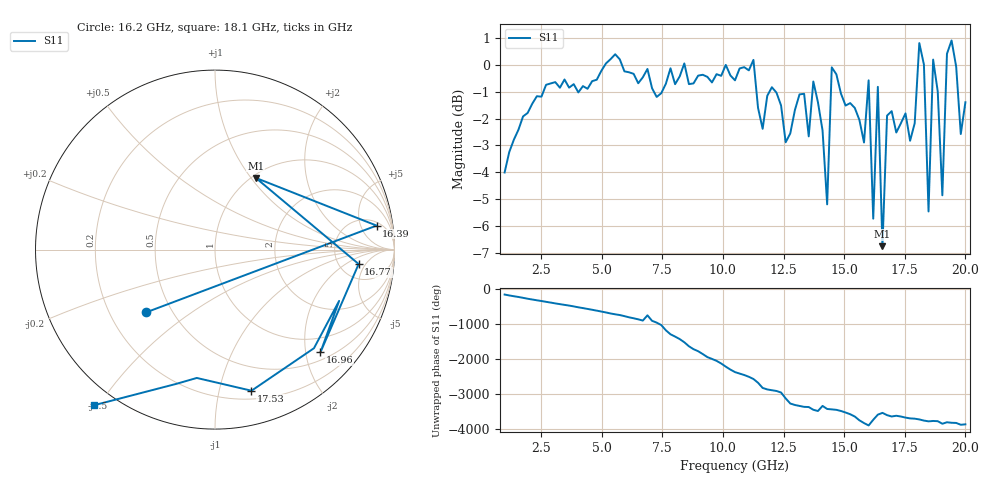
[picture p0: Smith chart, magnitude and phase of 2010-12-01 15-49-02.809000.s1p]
# GHz S RI R 50
!freq	ReS11	ImS11
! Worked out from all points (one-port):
!   101 points, 1 GHz to 20 GHz, reference 50 ohm
!   lowest |S11| = -6.8 dB at 16.58 GHz (marker M1), VSWR 2.70, Z = 52.1 + j52.8 ohm
!   |S11| at or under -10 dB: nowhere
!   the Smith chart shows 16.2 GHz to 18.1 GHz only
!   S11 on the Smith chart (normalised r, x): 16.2 GHz: 0.36, -0.34; 16.39 GHz: 6, +10; 16.77 GHz: 7.62, -3.47; 16.96 GHz: 0.66, -2.30; 17.53 GHz: 0.27, -1.25; 18.1 GHz: -0.06, -0.49
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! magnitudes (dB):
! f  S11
! 1 GHz  -4.0
! 3.47 GHz  -0.5
! 5.75 GHz  0.2
! 8.22 GHz  -0.4
! 10.5 GHz  -0.6
! 12.97 GHz  -1.7
! 13.54 GHz  -2.7
! 13.73 GHz  -0.6
! 14.3 GHz  -5.2
! 14.49 GHz  -0.1
! 15.25 GHz  -1.4
! 15.82 GHz  -2.9
! 16.01 GHz  -0.6
! 16.2 GHz  -5.7
! 16.39 GHz  -0.8
! 16.58 GHz  -6.8
! 16.77 GHz  -1.9
! 16.96 GHz  -1.7
! 17.53 GHz  -1.8
! 17.72 GHz  -2.8
! 18.1 GHz  0.8
! 18.29 GHz  0.0
! 18.48 GHz  -5.5
! 18.67 GHz  0.2
! 19.05 GHz  -4.9
! 19.24 GHz  0.4
! 19.81 GHz  -2.6
! 20 GHz  -1.4
